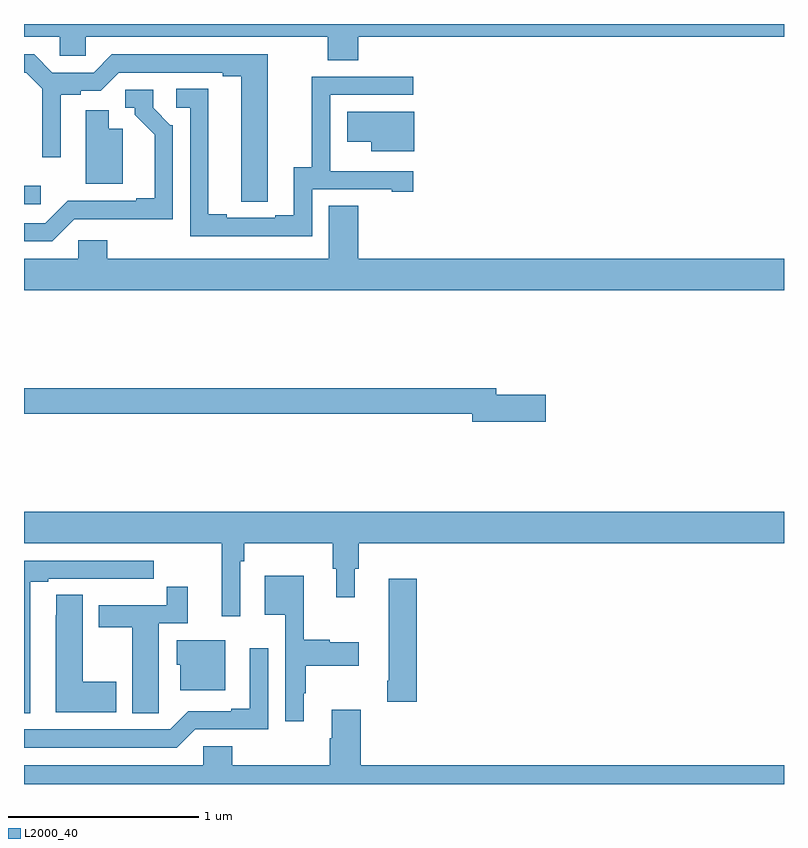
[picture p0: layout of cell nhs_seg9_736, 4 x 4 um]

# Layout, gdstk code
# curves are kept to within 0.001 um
import gdstk
lib = gdstk.Library(unit=1e-6, precision=1e-09)
def R(c, l, rs):  # rectangles x0, y0, x1, y1
    for r in rs: c.add(gdstk.rectangle(r[:2], r[2:], *l))
def P(c, l, *ps):  # polygons
    for p in ps: c.add(gdstk.Polygon(p, *l))
L2000_40 = (2000, 40)

nhs_seg9_736 = lib.new_cell('nhs_seg9_736')
R(nhs_seg9_736, L2000_40, [(149,1183.551,149.089,1183.648)])
P(nhs_seg9_736, L2000_40, [(150.758,1184.432),(153,1184.432),(153,1184.5),(149,1184.5),(149,1184.432),(149.187,1184.432),(149.187,1184.334),(149.325,1184.334),(149.325,1184.432),(150.598,1184.432),(150.598,1184.308),(150.758,1184.308)],
  [(150.282,1183.672),(150.283,1184.34),(149.463,1184.34),(149.367,1184.244),(149.149,1184.244),(149.053,1184.34),(149,1184.34),(149,1184.244),(149.013,1184.244),(149.097,1184.16),(149.097,1183.8),(149.194,1183.8),(149.194,1184.128),(149.298,1184.128),(149.298,1184.148),(149.403,1184.148),(149.499,1184.244),(150.047,1184.244),(150.047,1184.224),(150.143,1184.224),(150.143,1183.564),(150.282,1183.564)],
  [(150.516,1183.629),(150.935,1183.629),(150.935,1183.617),(151.048,1183.617),(151.048,1183.725),(150.614,1183.725),(150.614,1183.726),(150.612,1183.726),(150.612,1184.127),(151.048,1184.127),(151.048,1184.223),(150.514,1184.223),(150.514,1183.745),(150.419,1183.745),(150.419,1183.494),(150.323,1183.494),(150.323,1183.479),(150.067,1183.479),(150.067,1183.499),(149.971,1183.499),(149.971,1184.159),(149.802,1184.159),(149.802,1184.058),(149.874,1184.058),(149.874,1183.383),(150.516,1183.383)],
  [(149.265,1183.473),(149.784,1183.472),(149.784,1183.968),(149.769,1183.968),(149.679,1184.058),(149.679,1184.154),(149.532,1184.154),(149.532,1184.058),(149.582,1184.058),(149.582,1184.023),(149.687,1183.918),(149.687,1183.582),(149.591,1183.582),(149.591,1183.569),(149.229,1183.569),(149.112,1183.452),(149,1183.452),(149,1183.356),(149.148,1183.356)],
  [(149.521,1183.948),(149.446,1183.948),(149.446,1184.047),(149.324,1184.047),(149.324,1183.658),(149.521,1183.658)],
  [(151.054,1184.038),(150.702,1184.038),(150.702,1183.88),(150.827,1183.88),(150.827,1183.829),(151.054,1183.829)],
  [(153,1183.264),(150.758,1183.264),(150.758,1183.544),(150.605,1183.544),(150.605,1183.264),(149.438,1183.264),(149.438,1183.362),(149.286,1183.362),(149.286,1183.264),(149,1183.264),(149,1183.1),(153,1183.1)],
  [(151.747,1182.548),(151.486,1182.548),(151.486,1182.584),(149,1182.584),(149,1182.448),(151.358,1182.448),(151.358,1182.406),(151.747,1182.406)],
  [(150.138,1181.672),(150.158,1181.672),(150.158,1181.768),(150.625,1181.768),(150.625,1181.634),(150.644,1181.634),(150.644,1181.484),(150.742,1181.484),(150.742,1181.634),(150.761,1181.634),(150.761,1181.768),(153,1181.768),(153,1181.932),(149,1181.932),(149,1181.768),(150.041,1181.768),(150.041,1181.382),(150.138,1181.382)],
  [(149.032,1181.565),(149.128,1181.565),(149.128,1181.58),(149.404,1181.58),(149.404,1181.579),(149.57,1181.579),(149.57,1181.58),(149.683,1181.58),(149.683,1181.676),(149,1181.676),(149,1180.873),(149.032,1180.873)],
  [(150.472,1180.978),(150.484,1180.978),(150.484,1181.123),(150.763,1181.123),(150.763,1181.245),(150.609,1181.245),(150.609,1181.258),(150.472,1181.258),(150.472,1181.596),(150.266,1181.596),(150.266,1181.39),(150.375,1181.39),(150.375,1180.83),(150.472,1180.83)],
  [(151.067,1181.581),(150.92,1181.581),(150.92,1181.044),(150.913,1181.044),(150.913,1180.932),(151.067,1180.932)],
  [(149.709,1180.984),(149.71,1180.984),(149.71,1181.346),(149.861,1181.346),(149.861,1181.539),(149.752,1181.539),(149.752,1181.442),(149.393,1181.442),(149.393,1181.326),(149.57,1181.326),(149.57,1180.873),(149.709,1180.873)],
  [(149.485,1181.037),(149.308,1181.037),(149.308,1181.495),(149.169,1181.495),(149.169,1181.387),(149.168,1181.387),(149.168,1180.877),(149.485,1180.877)],
  [(150.058,1181.257),(149.804,1181.257),(149.804,1181.127),(149.822,1181.127),(149.822,1180.994),(150.058,1180.994)],
  [(149.901,1180.788),(150.285,1180.788),(150.285,1181.215),(150.188,1181.215),(150.188,1180.897),(150.092,1180.897),(150.092,1180.884),(149.865,1180.884),(149.769,1180.788),(149,1180.788),(149,1180.692),(149.805,1180.692)],
  [(153,1180.6),(150.773,1180.6),(150.773,1180.891),(150.62,1180.891),(150.62,1180.742),(150.608,1180.742),(150.608,1180.6),(150.095,1180.6),(150.095,1180.698),(149.943,1180.698),(149.943,1180.6),(149,1180.6),(149,1180.5),(153,1180.5)])

lib.write_gds('nhs_seg9_736.gds')
